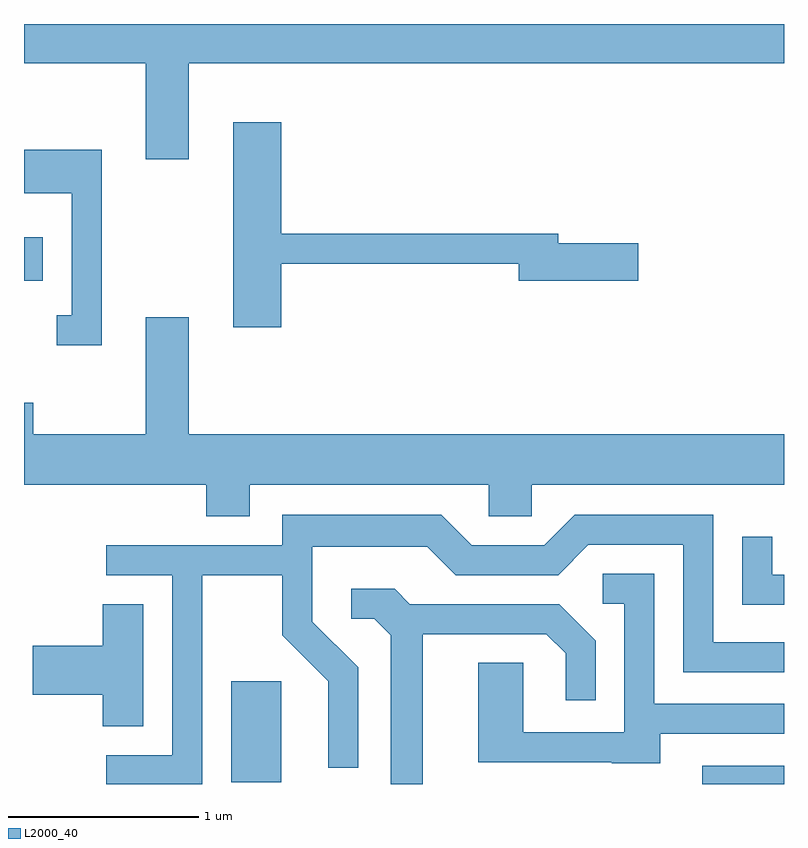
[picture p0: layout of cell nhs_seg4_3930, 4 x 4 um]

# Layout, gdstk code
import gdstk
lib = gdstk.Library(unit=1e-6, precision=1e-09)
def R(c, l, rs):  # rectangles x0, y0, x1, y1
    for r in rs: c.add(gdstk.rectangle(r[:2], r[2:], *l))
def P(c, l, *ps):  # polygons
    for p in ps: c.add(gdstk.Polygon(p, *l))
L2000_40 = (2000, 40)

nhs_seg4_3930 = lib.new_cell('nhs_seg4_3930')
R(nhs_seg4_3930, L2000_40, [(303.181,1361.982,303.611,1362.079), (300.701,1361.991,300.964,1362.524), (299.611,1364.631,299.709,1364.859)])
P(nhs_seg4_3930, L2000_40, [(300.479,1365.776),(303.611,1365.776),(303.611,1365.982),(299.611,1365.982),(299.611,1365.776),(300.251,1365.776),(300.251,1365.271),(300.479,1365.271)],
  [(300.964,1364.721),(302.216,1364.721),(302.216,1364.631),(302.844,1364.631),(302.844,1364.829),(302.424,1364.829),(302.424,1364.879),(300.964,1364.879),(300.964,1365.464),(300.711,1365.464),(300.711,1364.386),(300.964,1364.386)],
  [(300.019,1365.319),(299.611,1365.319),(299.611,1365.091),(299.861,1365.091),(299.861,1364.449),(299.783,1364.449),(299.783,1364.291),(300.019,1364.291)],
  [(300.799,1363.556),(302.056,1363.556),(302.056,1363.391),(302.284,1363.391),(302.284,1363.556),(303.611,1363.556),(303.611,1363.824),(300.479,1363.824),(300.479,1364.439),(300.251,1364.439),(300.251,1363.824),(299.659,1363.824),(299.659,1363.989),(299.611,1363.989),(299.611,1363.556),(300.571,1363.556),(300.571,1363.391),(300.799,1363.391)],
  [(300.549,1363.081),(300.971,1363.081),(300.971,1362.764),(301.211,1362.524),(301.211,1362.068),(301.369,1362.068),(301.369,1362.597),(301.129,1362.837),(301.129,1363.231),(301.734,1363.231),(301.884,1363.081),(302.422,1363.081),(302.582,1363.241),(303.081,1363.241),(303.081,1362.571),(303.611,1362.571),(303.611,1362.729),(303.239,1362.729),(303.239,1363.399),(302.509,1363.399),(302.349,1363.239),(301.967,1363.239),(301.807,1363.399),(300.971,1363.399),(300.971,1363.239),(300.043,1363.239),(300.043,1363.081),(300.391,1363.081),(300.391,1362.134),(300.043,1362.134),(300.043,1361.982),(300.549,1361.982)],
  [(303.611,1363.084),(303.549,1363.084),(303.549,1363.283),(303.391,1363.283),(303.391,1362.926),(303.611,1362.926)],
  [(302.959,1362.246),(303.611,1362.246),(303.611,1362.404),(302.929,1362.404),(302.929,1363.089),(302.658,1363.089),(302.658,1362.931),(302.771,1362.931),(302.771,1362.254),(302.239,1362.254),(302.239,1362.619),(302.001,1362.619),(302.001,1362.096),(302.705,1362.096),(302.705,1362.091),(302.959,1362.091)],
  [(301.709,1362.771),(302.359,1362.771),(302.461,1362.669),(302.461,1362.423),(302.619,1362.423),(302.619,1362.737),(302.427,1362.929),(301.642,1362.929),(301.562,1363.009),(301.333,1363.009),(301.333,1362.851),(301.454,1362.851),(301.541,1362.764),(301.541,1361.982),(301.709,1361.982)],
  [(300.239,1362.929),(300.026,1362.929),(300.026,1362.709),(299.656,1362.709),(299.656,1362.451),(300.026,1362.451),(300.026,1362.286),(300.239,1362.286)])

lib.write_gds('nhs_seg4_3930.gds')
